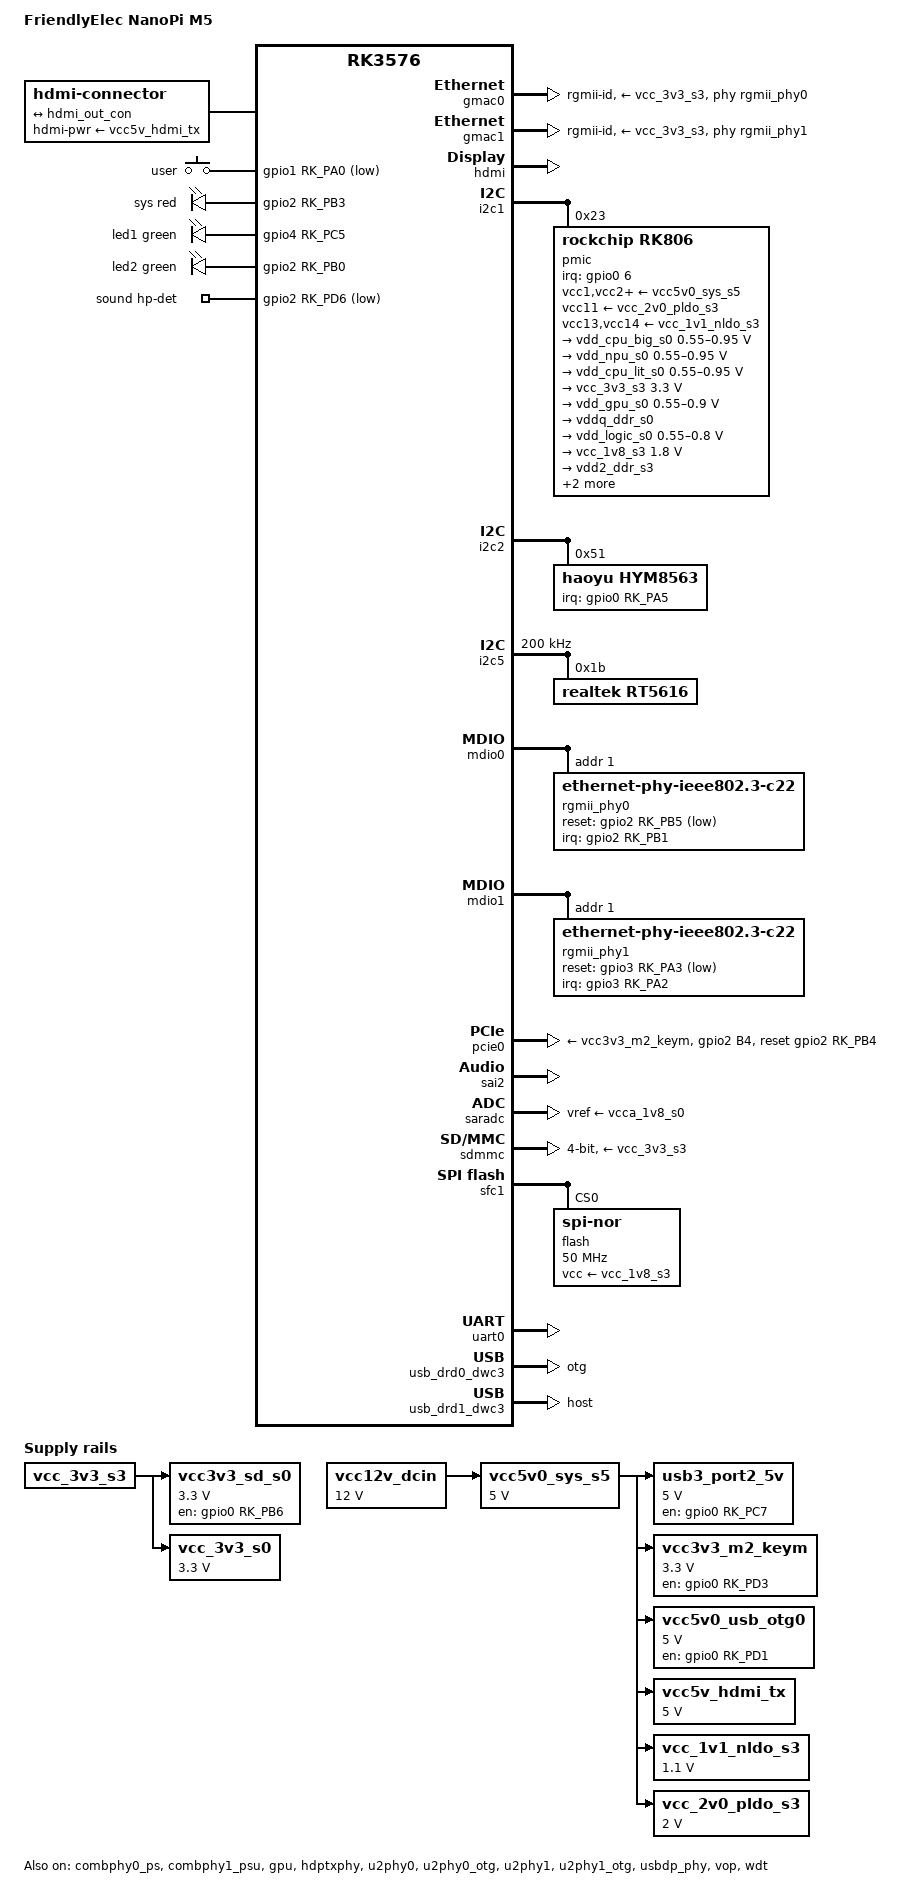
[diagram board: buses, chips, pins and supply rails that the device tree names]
// SPDX-License-Identifier: (GPL-2.0+ OR MIT)
/*
 * Copyright (c) 2025 FriendlyElec Computer Tech. Co., Ltd.
 * Copyright (c) 2025 John Clark <inindev@gmail.com>
 */

/dts-v1/;

#include <dt-bindings/gpio/gpio.h>
#include <dt-bindings/input/input.h>
#include <dt-bindings/leds/common.h>
#include <dt-bindings/pinctrl/rockchip.h>
#include <dt-bindings/pwm/pwm.h>
#include <dt-bindings/soc/rockchip,vop2.h>
#include <dt-bindings/usb/pd.h>
#include "rk3576.dtsi"

/ {
	model = "FriendlyElec NanoPi M5";
	compatible = "friendlyarm,nanopi-m5", "rockchip,rk3576";

	aliases {
		ethernet0 = &gmac0;
		ethernet1 = &gmac1;
		mmc0 = &sdmmc;
	};

	chosen {
		stdout-path = "serial0:1500000n8";
	};

	hdmi-con {
		compatible = "hdmi-connector";
		hdmi-pwr-supply = <&vcc5v_hdmi_tx>;
		type = "a";

		port {
			hdmi_con_in: endpoint {
				remote-endpoint = <&hdmi_out_con>;
			};
		};
	};

	keys {
		compatible = "gpio-keys";

		usr_button: key-1 {
			debounce-interval = <50>;
			gpios = <&gpio1 RK_PA0 GPIO_ACTIVE_LOW>;
			label = "user";
			linux,code = <BTN_1>;
			pinctrl-names = "default";
			pinctrl-0 = <&usr_button_l>;
			wakeup-source;
		};
	};

	leds {
		compatible = "gpio-leds";

		led_sys: led-0 {
			color = <LED_COLOR_ID_RED>;
			function = LED_FUNCTION_HEARTBEAT;
			gpios = <&gpio2 RK_PB3 GPIO_ACTIVE_HIGH>;
			label = "sys";
			linux,default-trigger = "heartbeat";
			pinctrl-names = "default";
			pinctrl-0 = <&led_sys_h>;
		};

		led1: led-1 {
			color = <LED_COLOR_ID_GREEN>;
			function = LED_FUNCTION_LAN;
			gpios = <&gpio4 RK_PC5 GPIO_ACTIVE_HIGH>;
			label = "led1";
			linux,default-trigger = "netdev";
			pinctrl-names = "default";
			pinctrl-0 = <&led1_h>;
		};

		led2: led-2 {
			color = <LED_COLOR_ID_GREEN>;
			function = LED_FUNCTION_LAN;
			gpios = <&gpio2 RK_PB0 GPIO_ACTIVE_HIGH>;
			label = "led2";
			linux,default-trigger = "netdev";
			pinctrl-names = "default";
			pinctrl-0 = <&led2_h>;
		};
	};

	usb3_port2_5v: regulator-usb3-port2-5v {
		compatible = "regulator-fixed";
		enable-active-high;
		gpios = <&gpio0 RK_PC7 GPIO_ACTIVE_HIGH>;
		pinctrl-names = "default";
		pinctrl-0 = <&usb3_host_pwren_h>;
		regulator-min-microvolt = <5000000>;
		regulator-max-microvolt = <5000000>;
		regulator-name = "usb3_port2_5v";
		vin-supply = <&vcc5v0_sys_s5>;
	};

	vcc12v_dcin: regulator-vcc12v-dcin {
		compatible = "regulator-fixed";
		regulator-always-on;
		regulator-boot-on;
		regulator-min-microvolt = <12000000>;
		regulator-max-microvolt = <12000000>;
		regulator-name = "vcc12v_dcin";
	};

	vcc3v3_m2_keym: regulator-vcc3v3-m2-keym {
		compatible = "regulator-fixed";
		enable-active-high;
		gpios = <&gpio0 RK_PD3 GPIO_ACTIVE_HIGH>;
		pinctrl-names = "default";
		pinctrl-0 = <&pcie0_pwren_h>;
		regulator-min-microvolt = <3300000>;
		regulator-max-microvolt = <3300000>;
		regulator-name = "vcc3v3_m2_keym";
		vin-supply = <&vcc5v0_sys_s5>;
	};

	vcc3v3_sd_s0: regulator-vcc3v3-sd-s0 {
		compatible = "regulator-fixed";
		enable-active-high;
		gpios = <&gpio0 RK_PB6 GPIO_ACTIVE_HIGH>;
		pinctrl-names = "default";
		pinctrl-0 = <&sdmmc0_pwren_h>;
		regulator-boot-on;
		regulator-min-microvolt = <3300000>;
		regulator-max-microvolt = <3300000>;
		regulator-name = "vcc3v3_sd_s0";
		vin-supply = <&vcc_3v3_s3>;
	};

	vcc5v0_sys_s5: regulator-vcc5v0-sys-s5 {
		compatible = "regulator-fixed";
		regulator-always-on;
		regulator-boot-on;
		regulator-min-microvolt = <5000000>;
		regulator-max-microvolt = <5000000>;
		regulator-name = "vcc5v0_sys_s5";
		vin-supply = <&vcc12v_dcin>;
	};

	vcc5v0_usb_otg0: regulator-vcc5v0-usb-otg0 {
		compatible = "regulator-fixed";
		enable-active-high;
		gpios = <&gpio0 RK_PD1 GPIO_ACTIVE_HIGH>;
		pinctrl-names = "default";
		pinctrl-0 = <&usb_otg0_pwren_h>;
		regulator-min-microvolt = <5000000>;
		regulator-max-microvolt = <5000000>;
		regulator-name = "vcc5v0_usb_otg0";
		vin-supply = <&vcc5v0_sys_s5>;
	};

	vcc5v_hdmi_tx: regulator-vcc5v-hdmi-tx {
		compatible = "regulator-fixed";
		regulator-always-on;
		regulator-min-microvolt = <5000000>;
		regulator-max-microvolt = <5000000>;
		regulator-name = "vcc5v_hdmi_tx";
		vin-supply = <&vcc5v0_sys_s5>;
	};

	vcc_1v1_nldo_s3: regulator-vcc-1v1-nldo-s3 {
		compatible = "regulator-fixed";
		regulator-always-on;
		regulator-boot-on;
		regulator-min-microvolt = <1100000>;
		regulator-max-microvolt = <1100000>;
		regulator-name = "vcc_1v1_nldo_s3";
		vin-supply = <&vcc5v0_sys_s5>;
	};

	vcc_2v0_pldo_s3: regulator-vcc-2v0-pldo-s3 {
		compatible = "regulator-fixed";
		regulator-always-on;
		regulator-boot-on;
		regulator-min-microvolt = <2000000>;
		regulator-max-microvolt = <2000000>;
		regulator-name = "vcc_2v0_pldo_s3";
		vin-supply = <&vcc5v0_sys_s5>;
	};

	vcc_3v3_s0: regulator-vcc-3v3-s0 {
		compatible = "regulator-fixed";
		regulator-always-on;
		regulator-boot-on;
		regulator-min-microvolt = <3300000>;
		regulator-max-microvolt = <3300000>;
		regulator-name = "vcc_3v3_s0";
		vin-supply = <&vcc_3v3_s3>;
	};

	sound {
		compatible = "simple-audio-card";
		pinctrl-names = "default";
		pinctrl-0 = <&hp_det_l>;

		simple-audio-card,format = "i2s";
		simple-audio-card,hp-det-gpios = <&gpio2 RK_PD6 GPIO_ACTIVE_LOW>;
		simple-audio-card,mclk-fs = <256>;
		simple-audio-card,name = "realtek,rt5616-codec";

		simple-audio-card,routing =
			"Headphones", "HPOL",
			"Headphones", "HPOR",
			"IN1P", "Microphone Jack";
		simple-audio-card,widgets =
			"Headphone", "Headphone Jack",
			"Microphone", "Microphone Jack";

		simple-audio-card,codec {
			sound-dai = <&rt5616>;
		};

		simple-audio-card,cpu {
			sound-dai = <&sai2>;
		};
	};
};

&combphy0_ps {
	status = "okay";
};

&combphy1_psu {
	status = "okay";
};

&cpu_b0 {
	cpu-supply = <&vdd_cpu_big_s0>;
};

&cpu_b1 {
	cpu-supply = <&vdd_cpu_big_s0>;
};

&cpu_b2 {
	cpu-supply = <&vdd_cpu_big_s0>;
};

&cpu_b3 {
	cpu-supply = <&vdd_cpu_big_s0>;
};

&cpu_l0 {
	cpu-supply = <&vdd_cpu_lit_s0>;
};

&cpu_l1 {
	cpu-supply = <&vdd_cpu_lit_s0>;
};

&cpu_l2 {
	cpu-supply = <&vdd_cpu_lit_s0>;
};

&cpu_l3 {
	cpu-supply = <&vdd_cpu_lit_s0>;
};

&fspi1m1_pins {
	/* gpio1_d5, gpio1_c4-c7 (clk, d0-d4) are for spi nor flash */
	/* gpio1_d0-d4 muxed to sai2 audio functions */
	rockchip,pins =
		<1 RK_PD5 3 &pcfg_pull_none>,
		<1 RK_PC4 3 &pcfg_pull_none>,
		<1 RK_PC5 3 &pcfg_pull_none>,
		<1 RK_PC6 3 &pcfg_pull_none>,
		<1 RK_PC7 3 &pcfg_pull_none>;
};

&gmac0 {
	clock_in_out = "output";
	phy-handle = <&rgmii_phy0>;
	phy-mode = "rgmii-id";
	phy-supply = <&vcc_3v3_s3>;
	pinctrl-names = "default";
	pinctrl-0 = <&eth0m0_miim>,
		    <&eth0m0_tx_bus2>,
		    <&eth0m0_rx_bus2>,
		    <&eth0m0_rgmii_clk>,
		    <&eth0m0_rgmii_bus>;
	status = "okay";
};

&gmac1 {
	clock_in_out = "output";
	phy-handle = <&rgmii_phy1>;
	phy-mode = "rgmii-id";
	phy-supply = <&vcc_3v3_s3>;
	pinctrl-names = "default";
	pinctrl-0 = <&eth1m0_miim>,
		    <&eth1m0_tx_bus2>,
		    <&eth1m0_rx_bus2>,
		    <&eth1m0_rgmii_clk>,
		    <&eth1m0_rgmii_bus>;
	status = "okay";
};

&gpu {
	mali-supply = <&vdd_gpu_s0>;
	status = "okay";
};

&hdmi {
	status = "okay";
};

&hdmi_in {
	hdmi_in_vp0: endpoint {
		remote-endpoint = <&vp0_out_hdmi>;
	};
};

&hdmi_out {
	hdmi_out_con: endpoint {
		remote-endpoint = <&hdmi_con_in>;
	};
};

&hdptxphy {
	status = "okay";
};

&i2c1 {
	status = "okay";

	pmic@23 {
		compatible = "rockchip,rk806";
		reg = <0x23>;
		#gpio-cells = <2>;
		gpio-controller;
		interrupt-parent = <&gpio0>;
		interrupts = <6 IRQ_TYPE_LEVEL_LOW>;
		pinctrl-names = "default";
		pinctrl-0 = <&pmic_pins>, <&rk806_dvs1_null>,
			    <&rk806_dvs2_null>, <&rk806_dvs3_null>;
		system-power-controller;

		vcc1-supply = <&vcc5v0_sys_s5>;
		vcc2-supply = <&vcc5v0_sys_s5>;
		vcc3-supply = <&vcc5v0_sys_s5>;
		vcc4-supply = <&vcc5v0_sys_s5>;
		vcc5-supply = <&vcc5v0_sys_s5>;
		vcc6-supply = <&vcc5v0_sys_s5>;
		vcc7-supply = <&vcc5v0_sys_s5>;
		vcc8-supply = <&vcc5v0_sys_s5>;
		vcc9-supply = <&vcc5v0_sys_s5>;
		vcc10-supply = <&vcc5v0_sys_s5>;
		vcc11-supply = <&vcc_2v0_pldo_s3>;
		vcc12-supply = <&vcc5v0_sys_s5>;
		vcc13-supply = <&vcc_1v1_nldo_s3>;
		vcc14-supply = <&vcc_1v1_nldo_s3>;
		vcca-supply = <&vcc5v0_sys_s5>;

		rk806_dvs1_null: dvs1-null-pins {
			pins = "gpio_pwrctrl1";
			function = "pin_fun0";
		};

		rk806_dvs1_slp: dvs1-slp-pins {
			pins = "gpio_pwrctrl1";
			function = "pin_fun1";
		};

		rk806_dvs1_pwrdn: dvs1-pwrdn-pins {
			pins = "gpio_pwrctrl1";
			function = "pin_fun2";
		};

		rk806_dvs1_rst: dvs1-rst-pins {
			pins = "gpio_pwrctrl1";
			function = "pin_fun3";
		};

		rk806_dvs2_null: dvs2-null-pins {
			pins = "gpio_pwrctrl2";
			function = "pin_fun0";
		};

		rk806_dvs2_slp: dvs2-slp-pins {
			pins = "gpio_pwrctrl2";
			function = "pin_fun1";
		};

		rk806_dvs2_pwrdn: dvs2-pwrdn-pins {
			pins = "gpio_pwrctrl2";
			function = "pin_fun2";
		};

		rk806_dvs2_rst: dvs2-rst-pins {
			pins = "gpio_pwrctrl2";
			function = "pin_fun3";
		};

		rk806_dvs2_dvs: dvs2-dvs-pins {
			pins = "gpio_pwrctrl2";
			function = "pin_fun4";
		};

		rk806_dvs2_gpio: dvs2-gpio-pins {
			pins = "gpio_pwrctrl2";
			function = "pin_fun5";
		};

		rk806_dvs3_null: dvs3-null-pins {
			pins = "gpio_pwrctrl3";
			function = "pin_fun0";
		};

		rk806_dvs3_slp: dvs3-slp-pins {
			pins = "gpio_pwrctrl3";
			function = "pin_fun1";
		};

		rk806_dvs3_pwrdn: dvs3-pwrdn-pins {
			pins = "gpio_pwrctrl3";
			function = "pin_fun2";
		};

		rk806_dvs3_rst: dvs3-rst-pins {
			pins = "gpio_pwrctrl3";
			function = "pin_fun3";
		};

		rk806_dvs3_dvs: dvs3-dvs-pins {
			pins = "gpio_pwrctrl3";
			function = "pin_fun4";
		};

		rk806_dvs3_gpio: dvs3-gpio-pins {
			pins = "gpio_pwrctrl3";
			function = "pin_fun5";
		};

		regulators {
			vdd_cpu_big_s0: dcdc-reg1 {
				regulator-always-on;
				regulator-boot-on;
				regulator-enable-ramp-delay = <400>;
				regulator-min-microvolt = <550000>;
				regulator-max-microvolt = <950000>;
				regulator-name = "vdd_cpu_big_s0";
				regulator-ramp-delay = <12500>;

				regulator-state-mem {
					regulator-off-in-suspend;
				};
			};

			vdd_npu_s0: dcdc-reg2 {
				regulator-boot-on;
				regulator-enable-ramp-delay = <400>;
				regulator-min-microvolt = <550000>;
				regulator-max-microvolt = <950000>;
				regulator-name = "vdd_npu_s0";
				regulator-ramp-delay = <12500>;

				regulator-state-mem {
					regulator-off-in-suspend;
				};
			};

			vdd_cpu_lit_s0: dcdc-reg3 {
				regulator-always-on;
				regulator-boot-on;
				regulator-min-microvolt = <550000>;
				regulator-max-microvolt = <950000>;
				regulator-name = "vdd_cpu_lit_s0";
				regulator-ramp-delay = <12500>;

				regulator-state-mem {
					regulator-off-in-suspend;
					regulator-suspend-microvolt = <750000>;
				};
			};

			vcc_3v3_s3: dcdc-reg4 {
				regulator-always-on;
				regulator-boot-on;
				regulator-min-microvolt = <3300000>;
				regulator-max-microvolt = <3300000>;
				regulator-name = "vcc_3v3_s3";

				regulator-state-mem {
					regulator-on-in-suspend;
					regulator-suspend-microvolt = <3300000>;
				};
			};

			vdd_gpu_s0: dcdc-reg5 {
				regulator-boot-on;
				regulator-enable-ramp-delay = <400>;
				regulator-min-microvolt = <550000>;
				regulator-max-microvolt = <900000>;
				regulator-name = "vdd_gpu_s0";
				regulator-ramp-delay = <12500>;

				regulator-state-mem {
					regulator-off-in-suspend;
					regulator-suspend-microvolt = <850000>;
				};
			};

			vddq_ddr_s0: dcdc-reg6 {
				regulator-always-on;
				regulator-boot-on;
				regulator-name = "vddq_ddr_s0";

				regulator-state-mem {
					regulator-off-in-suspend;
				};
			};

			vdd_logic_s0: dcdc-reg7 {
				regulator-always-on;
				regulator-boot-on;
				regulator-min-microvolt = <550000>;
				regulator-max-microvolt = <800000>;
				regulator-name = "vdd_logic_s0";

				regulator-state-mem {
					regulator-off-in-suspend;
				};
			};

			vcc_1v8_s3: dcdc-reg8 {
				regulator-always-on;
				regulator-boot-on;
				regulator-min-microvolt = <1800000>;
				regulator-max-microvolt = <1800000>;
				regulator-name = "vcc_1v8_s3";

				regulator-state-mem {
					regulator-on-in-suspend;
					regulator-suspend-microvolt = <1800000>;
				};
			};

			vdd2_ddr_s3: dcdc-reg9 {
				regulator-always-on;
				regulator-boot-on;
				regulator-name = "vdd2_ddr_s3";

				regulator-state-mem {
					regulator-on-in-suspend;
				};
			};

			vdd_ddr_s0: dcdc-reg10 {
				regulator-always-on;
				regulator-boot-on;
				regulator-min-microvolt = <550000>;
				regulator-max-microvolt = <1200000>;
				regulator-name = "vdd_ddr_s0";

				regulator-state-mem {
					regulator-off-in-suspend;
				};
			};

			vcca_1v8_s0: pldo-reg1 {
				regulator-always-on;
				regulator-boot-on;
				regulator-min-microvolt = <1800000>;
				regulator-max-microvolt = <1800000>;
				regulator-name = "vcca_1v8_s0";

				regulator-state-mem {
					regulator-off-in-suspend;
				};
			};

			vcca1v8_pldo2_s0: pldo-reg2 {
				regulator-always-on;
				regulator-boot-on;
				regulator-min-microvolt = <1800000>;
				regulator-max-microvolt = <1800000>;
				regulator-name = "vcca1v8_pldo2_s0";

				regulator-state-mem {
					regulator-off-in-suspend;
				};
			};

			vdda_1v2_s0: pldo-reg3 {
				regulator-always-on;
				regulator-boot-on;
				regulator-min-microvolt = <1200000>;
				regulator-max-microvolt = <1200000>;
				regulator-name = "vdda_1v2_s0";

				regulator-state-mem {
					regulator-off-in-suspend;
				};
			};

			vcca_3v3_s0: pldo-reg4 {
				regulator-always-on;
				regulator-boot-on;
				regulator-min-microvolt = <3300000>;
				regulator-max-microvolt = <3300000>;
				regulator-name = "vcca_3v3_s0";

				regulator-state-mem {
					regulator-off-in-suspend;
				};
			};

			vccio_sd_s0: pldo-reg5 {
				regulator-always-on;
				regulator-boot-on;
				regulator-min-microvolt = <1800000>;
				regulator-max-microvolt = <3300000>;
				regulator-name = "vccio_sd_s0";

				regulator-state-mem {
					regulator-off-in-suspend;
				};
			};

			vcca1v8_pldo6_s3: pldo-reg6 {
				regulator-always-on;
				regulator-boot-on;
				regulator-min-microvolt = <1800000>;
				regulator-max-microvolt = <1800000>;
				regulator-name = "vcca1v8_pldo6_s3";

				regulator-state-mem {
					regulator-on-in-suspend;
					regulator-suspend-microvolt = <1800000>;
				};
			};

			vdd_0v75_s3: nldo-reg1 {
				regulator-always-on;
				regulator-boot-on;
				regulator-min-microvolt = <750000>;
				regulator-max-microvolt = <750000>;
				regulator-name = "vdd_0v75_s3";

				regulator-state-mem {
					regulator-on-in-suspend;
					regulator-suspend-microvolt = <750000>;
				};
			};

			vdda_ddr_pll_s0: nldo-reg2 {
				regulator-always-on;
				regulator-boot-on;
				regulator-min-microvolt = <850000>;
				regulator-max-microvolt = <850000>;
				regulator-name = "vdda_ddr_pll_s0";

				regulator-state-mem {
					regulator-off-in-suspend;
				};
			};

			vdda0v75_hdmi_s0: nldo-reg3 {
				regulator-always-on;
				regulator-boot-on;
				regulator-min-microvolt = <837500>;
				regulator-max-microvolt = <837500>;
				regulator-name = "vdda0v75_hdmi_s0";

				regulator-state-mem {
					regulator-off-in-suspend;
				};
			};

			vdda_0v85_s0: nldo-reg4 {
				regulator-always-on;
				regulator-boot-on;
				regulator-min-microvolt = <850000>;
				regulator-max-microvolt = <850000>;
				regulator-name = "vdda_0v85_s0";

				regulator-state-mem {
					regulator-off-in-suspend;
				};
			};

			vdda_0v75_s0: nldo-reg5 {
				regulator-always-on;
				regulator-boot-on;
				regulator-min-microvolt = <750000>;
				regulator-max-microvolt = <750000>;
				regulator-name = "vdda_0v75_s0";

				regulator-state-mem {
					regulator-off-in-suspend;
				};
			};
		};
	};
};

&i2c2 {
	status = "okay";

	hym8563: rtc@51 {
		compatible = "haoyu,hym8563";
		reg = <0x51>;
		#clock-cells = <0>;
		clock-output-names = "hym8563";
		interrupt-parent = <&gpio0>;
		interrupts = <RK_PA5 IRQ_TYPE_LEVEL_LOW>;
		pinctrl-names = "default";
		pinctrl-0 = <&hym8563_int>;
		wakeup-source;
	};
};

&i2c5 {
	clock-frequency = <200000>;
	pinctrl-names = "default";
	pinctrl-0 = <&i2c5m3_xfer>;
	status = "okay";

	rt5616: audio-codec@1b {
		compatible = "realtek,rt5616";
		reg = <0x1b>;
		assigned-clocks = <&cru CLK_SAI2_MCLKOUT>;
		assigned-clock-rates = <12288000>;
		clocks = <&cru CLK_SAI2_MCLKOUT>;
		clock-names = "mclk";
		#sound-dai-cells = <0>;
	};
};

&mdio0 {
	rgmii_phy0: phy@1 {
		compatible = "ethernet-phy-ieee802.3-c22";
		reg = <0x1>;
		clocks = <&cru REFCLKO25M_GMAC0_OUT>;
		interrupt-parent = <&gpio2>;
		interrupts = <RK_PB1 IRQ_TYPE_LEVEL_LOW>;
		pinctrl-names = "default";
		pinctrl-0 = <&gmac0_int>, <&gmac0_rst>;
		reset-assert-us = <20000>;
		reset-deassert-us = <100000>;
		reset-gpios = <&gpio2 RK_PB5 GPIO_ACTIVE_LOW>;
	};
};

&mdio1 {
	rgmii_phy1: phy@1 {
		compatible = "ethernet-phy-ieee802.3-c22";
		reg = <0x1>;
		clocks = <&cru REFCLKO25M_GMAC1_OUT>;
		interrupt-parent = <&gpio3>;
		interrupts = <RK_PA2 IRQ_TYPE_LEVEL_LOW>;
		pinctrl-names = "default";
		pinctrl-0 = <&gmac1_int>, <&gmac1_rst>;
		reset-assert-us = <20000>;
		reset-deassert-us = <100000>;
		reset-gpios = <&gpio3 RK_PA3 GPIO_ACTIVE_LOW>;
	};
};

&pcie0 {
	pinctrl-names = "default";
	pinctrl-0 = <&pcie0_perstn>;
	reset-gpios = <&gpio2 RK_PB4 GPIO_ACTIVE_HIGH>;
	vpcie3v3-supply = <&vcc3v3_m2_keym>;
	status = "okay";
};

&pinctrl {
	gmac {
		gmac0_int: gmac0-int {
			rockchip,pins = <2 RK_PB1 RK_FUNC_GPIO &pcfg_pull_up>;
		};
		gmac0_rst: gmac0-rst {
			rockchip,pins = <2 RK_PB5 RK_FUNC_GPIO &pcfg_pull_none>;
		};
		gmac1_int: gmac1-int {
			rockchip,pins = <3 RK_PA2 RK_FUNC_GPIO &pcfg_pull_up>;
		};
		gmac1_rst: gmac1-rst {
			rockchip,pins = <3 RK_PA3 RK_FUNC_GPIO &pcfg_pull_none>;
		};
	};

	hym8563 {
		hym8563_int: hym8563-int {
			rockchip,pins = <0 RK_PA5 RK_FUNC_GPIO &pcfg_pull_up>;
		};
	};

	keys {
		usr_button_l: usr-button-l {
			rockchip,pins = <1 RK_PA0 RK_FUNC_GPIO &pcfg_pull_up>;
		};
	};

	leds {
		led_sys_h: led-sys-h {
			rockchip,pins = <2 RK_PB3 RK_FUNC_GPIO &pcfg_pull_none>;
		};
		led1_h: led1-h {
			rockchip,pins = <4 RK_PC5 RK_FUNC_GPIO &pcfg_pull_none>;
		};
		led2_h: led2-h {
			rockchip,pins = <2 RK_PB0 RK_FUNC_GPIO &pcfg_pull_none>;
		};
	};

	pcie {
		pcie0_pwren_h: pcie0-pwren-h {
			rockchip,pins = <0 RK_PD3 RK_FUNC_GPIO &pcfg_pull_none>;
		};
		pcie0_perstn: pcie0-perstn {
			rockchip,pins = <2 RK_PB4 RK_FUNC_GPIO &pcfg_pull_up>;
		};
	};

	sdmmc {
		sdmmc0_pwren_h: sdmmc0-pwren-h {
			rockchip,pins = <0 RK_PB6 RK_FUNC_GPIO &pcfg_pull_up>;
		};
	};

	sound {
		hp_det_l: hp-det-l {
			rockchip,pins = <2 RK_PD6 RK_FUNC_GPIO &pcfg_pull_none>;
		};
	};

	usb {
		usb3_host_pwren_h: usb3-host-pwren-h {
			rockchip,pins = <0 RK_PC7 RK_FUNC_GPIO &pcfg_pull_none>;
		};
		usb_otg0_pwren_h: usb-otg0-pwren-h {
			rockchip,pins = <0 RK_PD1 RK_FUNC_GPIO &pcfg_pull_none>;
		};
	};
};

&sai2 {
	status = "okay";
};

&saradc {
	vref-supply = <&vcca_1v8_s0>;
	status = "okay";
};

&sdmmc {
	bus-width = <4>;
	cap-mmc-highspeed;
	cap-sd-highspeed;
	disable-wp;
	no-mmc;
	no-sdio;
	pinctrl-names = "default";
	pinctrl-0 = <&sdmmc0_clk>, <&sdmmc0_cmd>, <&sdmmc0_det>, <&sdmmc0_bus4>;
	sd-uhs-sdr104;
	vmmc-supply = <&vcc_3v3_s3>;
	vqmmc-supply = <&vcc3v3_sd_s0>;
	status = "okay";
};

&sfc1 {
	pinctrl-names = "default";
	pinctrl-0 = <&fspi1m1_csn0>, <&fspi1m1_pins>;
	status = "okay";

	flash@0 {
		compatible = "jedec,spi-nor";
		reg = <0>;
		m25p,fast-read;
		spi-max-frequency = <50000000>;
		spi-rx-bus-width = <4>;
		spi-tx-bus-width = <1>;
		vcc-supply = <&vcc_1v8_s3>;
	};
};

&u2phy0 {
	status = "okay";
};

&u2phy0_otg {
	phy-supply = <&vcc5v0_usb_otg0>;
	status = "okay";
};

&u2phy1 {
	status = "okay";
};

&u2phy1_otg {
	phy-supply = <&usb3_port2_5v>;
	status = "okay";
};

&uart0 {
	status = "okay";
};

&usbdp_phy {
	status = "okay";
};

&usb_drd0_dwc3 {
	dr_mode = "otg";
	extcon = <&u2phy0>;
	status = "okay";
};

&usb_drd1_dwc3 {
	dr_mode = "host";
	status = "okay";
};

&vop {
	status = "okay";
};

&vop_mmu {
	status = "okay";
};

&vp0 {
	vp0_out_hdmi: endpoint@ROCKCHIP_VOP2_EP_HDMI0 {
		reg = <ROCKCHIP_VOP2_EP_HDMI0>;
		remote-endpoint = <&hdmi_in_vp0>;
	};
};

&wdt {
	status = "okay";
};
